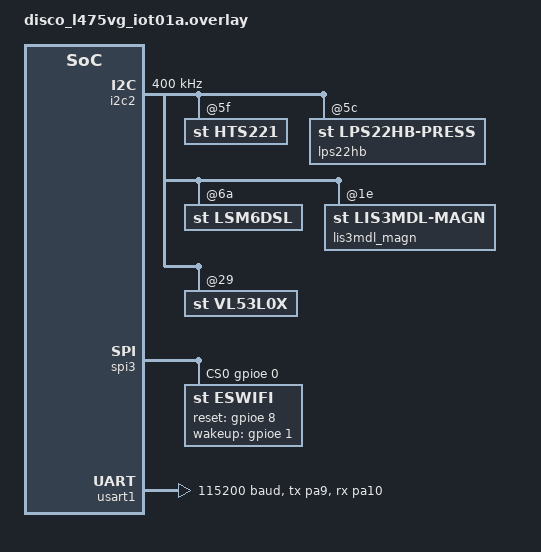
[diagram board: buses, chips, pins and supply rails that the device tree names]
/ {
    chosen {
        zephyr,flash = &flash0;
        zephyr,console = &usart1;
        zephyr,shell-uart = &usart1;
    };

    storage_partition: partition@7b000 {
        compatible = "fixed-partitions";
        reg = <0x0007b000 0x00005000>;
    };
};

&i2c2 {
    status = "okay";
    clock-frequency = <I2C_BITRATE_FAST>;

    hts221: hts221@5f {
        compatible = "st,hts221";
        status = "okay";
    };

    lps22hb: lps22hb@5c {
        compatible = "st,lps22hb-press";
        status = "okay";
    };

    lsm6dsl: lsm6dsl@6a {
        compatible = "st,lsm6dsl";
        status = "okay";
    };

    lis3mdl_magn: lis3mdl-magn@1e {
        compatible = "st,lis3mdl-magn";
        status = "okay";
    };

    vl53l0x: vl53l0x@29 {
        compatible = "st,vl53l0x";
        status = "okay";
    };
};

&spi3 {
    status = "okay";
    cs-gpios = <&gpioe 0 0>;

    eswifi@0 {
        compatible = "st,eswifi";
        reg = <0>;
        reset-gpios = <&gpioe 8 0>;
        wakeup-gpios = <&gpioe 1 0>;
        status = "okay";
        asdfa
    };
 
};

&usart1 {
    current-speed = <115200>;
    pinctrl-0 = <&usart1_tx_pa9 &usart1_rx_pa10>;
    pinctrl-names = "default";
    status = "okay";
    hw-flow-control = <0>;
};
